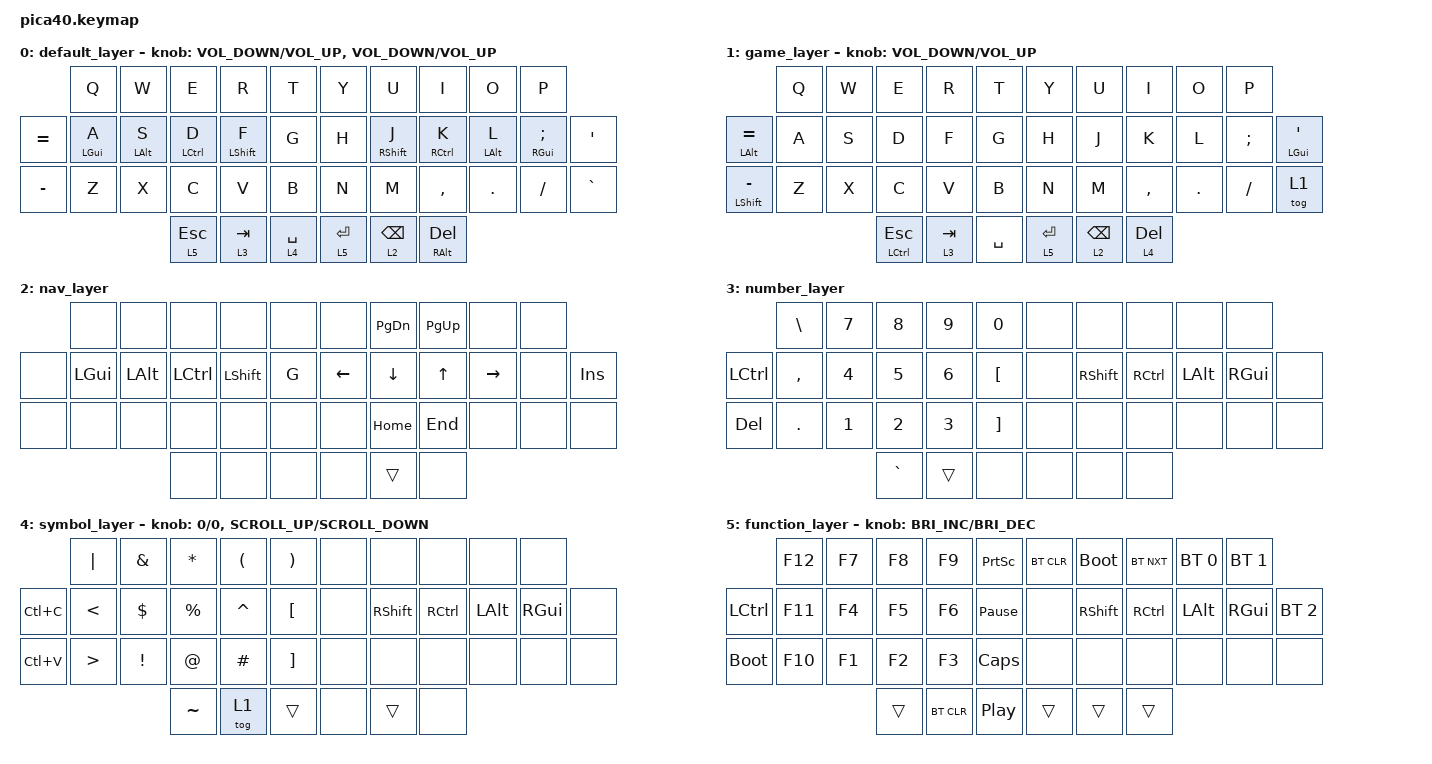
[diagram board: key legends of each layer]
#include <behaviors.dtsi>
#include <dt-bindings/zmk/bt.h>
#include <dt-bindings/zmk/keys.h>

#define QWERTY 0
#define GAME 1
#define NAV 2
#define NUM 3
#define SYM 4
#define FUNC 5

&mt {
    tapping-term-ms = <160>;
    flavor = "tap-preferred";
};

&lt {
    tapping-term-ms = <160>;
    flavor = "tap-preferred";
};

/ {
    behaviors {
        hm: homerow_mods {
            compatible = "zmk,behavior-hold-tap";
            label = "HOMEROW_MODS";
            #binding-cells = <2>;
            tapping-term-ms = <160>;
            quick-tap-ms = <0>;
            flavor = "tap-preferred";
            bindings = <&kp>, <&kp>;
        };

        hr: homerow_mods_ring_finger {
            compatible = "zmk,behavior-hold-tap";
            label = "HOMEROW_MODS_RING_FINGER";
            #binding-cells = <2>;
            tapping-term-ms = <190>;
            quick-tap-ms = <0>;
            flavor = "tap-preferred";
            bindings = <&kp>, <&kp>;
        };

        hp: homerow_mods_pinky_finger {
            compatible = "zmk,behavior-hold-tap";
            label = "HOMEROW_MODS_PINKY_FINGER";
            #binding-cells = <2>;
            tapping-term-ms = <220>;
            quick-tap-ms = <0>;
            flavor = "tap-preferred";
            bindings = <&kp>, <&kp>;
        };

        tm: thumb_mods {
            compatible = "zmk,behavior-hold-tap";
            label = "THUMB_MODS";
            #binding-cells = <2>;
            tapping-term-ms = <160>;
            quick-tap-ms = <160>;
            flavor = "tap-preferred";
            bindings = <&kp>, <&kp>;
        };

        lh: layer_hold {
            compatible = "zmk,behavior-hold-tap";
            label = "LAYER_HOLD";
            #binding-cells = <2>;
            tapping-term-ms = <160>;
            quick-tap-ms = <160>;
            flavor = "tap-preferred";
            bindings = <&mo>, <&kp>;
        };

        // Easy alt-tab with alt+backspace thumb using mod-morphs

        bstab: backspace_tab {
            compatible = "zmk,behavior-mod-morph";
            label = "BSPC_TAB";
            #binding-cells = <0>;
            bindings = <&kp BSPC>, <&kp TAB>;

            mods = <MOD_LALT>;
        };

        lt_bspc: layer_tap_backspace_tab {
            compatible = "zmk,behavior-hold-tap";
            label = "LT_BT";
            #binding-cells = <2>;
            tapping-term-ms = <150>;
            flavor = "balanced";
            bindings = <&mo>, <&bstab>;
        };
    };

    combos {
        compatible = "zmk,combos";

        combo_caps {
            timeout-ms = <50>;
            key-positions = <14 17>;
            layers = <0>;
            bindings = <&caps_word>;
        };
    };

    keymap {
        compatible = "zmk,keymap";

        default_layer {
            bindings = <
           &kp Q       &kp W       &kp E        &kp R        &kp T        &kp Y        &kp U        &kp I         &kp O       &kp P
&kp EQUAL  &hp LGUI A  &hr LALT S  &hm LCTRL D  &hm LSHFT F  &kp G        &kp H        &hm RSHFT J  &hm RCTRL K   &hr LALT L  &hp RGUI SEMI  &kp SQT
&kp MINUS  &kp Z       &kp X       &kp C        &kp V        &kp B        &kp N        &kp M        &kp COMMA     &kp DOT     &kp FSLH       &kp GRAVE
                                   &lt 5 ESC    &lt 3 TAB    &lh 4 SPACE  &lt 5 ENTER  &lh 2 BSPC   &tm RALT DEL
            >;

            sensor-bindings =
                <&inc_dec_kp C_VOLUME_DOWN C_VOLUME_UP>,
                <&inc_dec_kp K_VOLUME_DOWN K_VOLUME_UP>;
        };

        game_layer {
            bindings = <
                 &kp Q  &kp W  &kp E          &kp R      &kp T      &kp Y        &kp U       &kp I         &kp O    &kp P
&hm LALT EQUAL   &kp A  &kp S  &kp D          &kp F      &kp G      &kp H        &kp J       &kp K         &kp L    &kp SEMI  &hm LGUI SQT
&hm LSHFT MINUS  &kp Z  &kp X  &kp C          &kp V      &kp B      &kp N        &kp M       &kp COMMA     &kp DOT  &kp FSLH  &tog 1
                               &hm LCTRL ESC  &lt 3 TAB  &kp SPACE  &lt 5 ENTER  &lh 2 BSPC  &lh 4 DELETE
            >;

            sensor-bindings = <&inc_dec_kp C_VOLUME_DOWN C_VOLUME_UP>;
        };

        nav_layer {
            bindings = <
       &none     &none     &none      &none      &none  &none           &kp PAGE_DOWN   &kp PAGE_UP   &none      &none
&none  &kp LGUI  &kp LALT  &kp LCTRL  &kp LSHFT  &kp G  &kp LEFT_ARROW  &kp DOWN_ARROW  &kp UP_ARROW  &kp RIGHT  &none  &kp INS
&none  &none     &none     &none      &none      &none  &none           &kp HOME        &kp END       &none      &none  &none
                           &none      &none      &none  &none           &trans          &none
            >;
        };

        number_layer {
            bindings = <
           &kp BSLH   &kp N7  &kp N8     &kp N9  &kp N0    &none  &none      &none      &none     &none
&kp LCTRL  &kp COMMA  &kp N4  &kp N5     &kp N6  &kp LBKT  &none  &kp RSHFT  &kp RCTRL  &kp LALT  &kp RGUI  &none
&kp DEL    &kp DOT    &kp N1  &kp N2     &kp N3  &kp RBKT  &none  &none      &none      &none     &none     &none
                              &kp GRAVE  &trans  &none     &none  &none      &none
            >;
        };

        symbol_layer {
            bindings = <
           &kp PIPE  &kp AMPS  &kp STAR   &kp LPAR   &kp RPAR           &none  &none      &none      &none     &none
&kp LC(C)  &kp LT    &kp DLLR  &kp PRCNT  &kp CARET  &kp LEFT_BRACKET   &none  &kp RSHFT  &kp RCTRL  &kp LALT  &kp RGUI  &none
&kp LC(V)  &kp GT    &kp EXCL  &kp AT     &kp HASH   &kp RIGHT_BRACKET  &none  &none      &none      &none     &none     &none
                               &kp TILDE  &tog 1     &trans             &none  &trans     &none
            >;

            sensor-bindings =
                <&inc_dec_kp 0 0>,
                <&inc_dec_kp K_SCROLL_UP K_SCROLL_DOWN>;
        };

        function_layer {
            bindings = <
             &kp F12  &kp F7  &kp F8  &kp F9      &kp PSCRN        &bt BT_CLR  &bootloader  &bt BT_NXT  &bt BT_SEL 0  &bt BT_SEL 1
&kp LCTRL    &kp F11  &kp F4  &kp F5  &kp F6      &kp PAUSE_BREAK  &none       &kp RSHFT    &kp RCTRL   &kp LALT      &kp RGUI      &bt BT_SEL 2
&bootloader  &kp F10  &kp F1  &kp F2  &kp F3      &kp CAPS         &none       &none        &none       &none         &none         &none
                              &trans  &bt BT_CLR  &kp C_PP         &trans      &trans       &trans
            >;

            sensor-bindings = <&inc_dec_kp C_BRIGHTNESS_INC C_BRIGHTNESS_DEC>;
        };
    };
};
